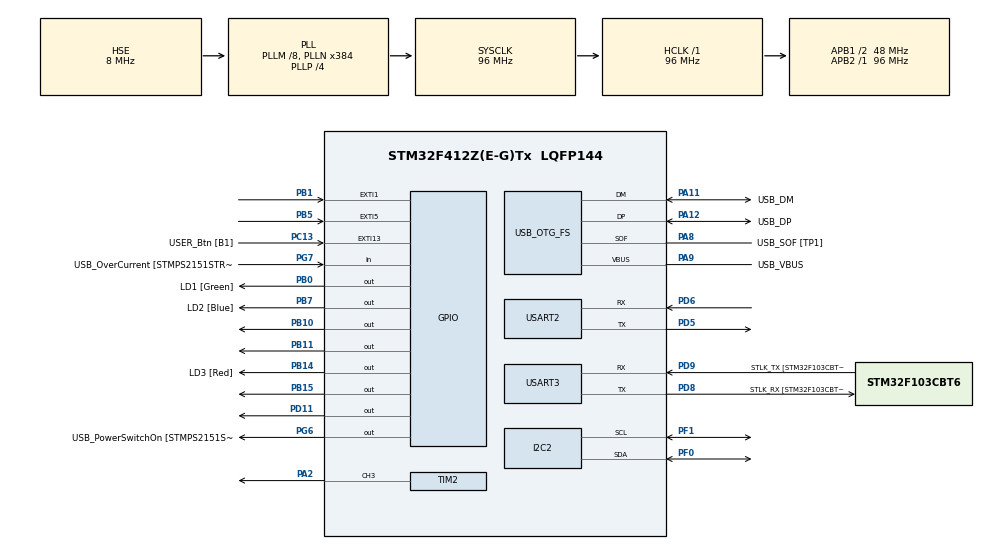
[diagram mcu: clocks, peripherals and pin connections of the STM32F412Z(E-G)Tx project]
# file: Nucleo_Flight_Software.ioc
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Mcu.Family=STM32F4
Mcu.Name=STM32F412Z(E-G)Tx
Mcu.Package=LQFP144
NVIC.EXTI9_5_IRQn=true\:0\:0\:false\:false\:true\:true\:true\:true
NVIC.PriorityGroup=NVIC_PRIORITYGROUP_4
PA10.GPIO_Label=USB_ID
PA10.Signal=USB_OTG_FS_ID
PA11.GPIO_Label=USB_DM
PA11.Mode=Device_Only
PA11.Signal=USB_OTG_FS_DM
PA12.GPIO_Label=USB_DP
PA12.Mode=Device_Only
PA12.Signal=USB_OTG_FS_DP
PA13.GPIO_Label=TMS
PA13.Mode=Serial_Wire
PA13.Signal=SYS_JTMS-SWDIO
PA14.GPIO_Label=TCK
PA14.Mode=Serial_Wire
PA14.Signal=SYS_JTCK-SWCLK
PA2.Signal=S_TIM2_CH3
PA8.GPIO_Label=USB_SOF [TP1]
PA8.Mode=Activate_SOF_FS
PA8.Signal=USB_OTG_FS_SOF
PA9.GPIO_Label=USB_VBUS
PA9.Mode=Activate_VBUS
PA9.Signal=USB_OTG_FS_VBUS
PB0.GPIO_Label=LD1 [Green]
PB0.Signal=GPIO_Output
PB1.Signal=GPXTI1
PB10.Signal=GPIO_Output
PB11.Signal=GPIO_Output
PB14.GPIO_Label=LD3 [Red]
PB14.Signal=GPIO_Output
PB15.Signal=GPIO_Output
PB3.GPIO_Label=SWO
PB3.Signal=SYS_JTDO-SWO
PB5.Signal=GPXTI5
PB7.GPIO_Label=LD2 [Blue]
PB7.Signal=GPIO_Output
PC13.GPIO_Label=USER_Btn [B1]
PC13.Signal=GPXTI13
PC14-OSC32_IN.Mode=LSE-External-Oscillator
PC14-OSC32_IN.Signal=RCC_OSC32_IN
PC15-OSC32_OUT.Mode=LSE-External-Oscillator
PC15-OSC32_OUT.Signal=RCC_OSC32_OUT
PD11.Signal=GPIO_Output
PD5.Mode=Asynchronous
PD5.Signal=USART2_TX
PD6.Mode=Asynchronous
PD6.Signal=USART2_RX
PD8.GPIO_Label=STLK_RX [STM32F103CBT6_PA3]
PD8.Mode=Asynchronous
PD8.Signal=USART3_TX
PD9.GPIO_Label=STLK_TX [STM32F103CBT6_PA2]
PD9.Mode=Asynchronous
PD9.Signal=USART3_RX
PF0.Mode=I2C
PF0.Signal=I2C2_SDA
PF1.Mode=I2C
PF1.Signal=I2C2_SCL
PG6.GPIO_Label=USB_PowerSwitchOn [STMPS2151STR_EN]
PG6.Signal=GPIO_Output
PG7.GPIO_Label=USB_OverCurrent [STMPS2151STR_FAULT]
PG7.Signal=GPIO_Input
PH0\ -\ OSC_IN.GPIO_Label=MCO
PH0\ -\ OSC_IN.Mode=HSE-External-Clock-Source
PH0\ -\ OSC_IN.Signal=RCC_OSC_IN
PH1\ -\ OSC_OUT.Mode=HSE-External-Clock-Source
PH1\ -\ OSC_OUT.Signal=RCC_OSC_OUT
ProjectManager.HeapSize=0x200
ProjectManager.StackSize=0x400
ProjectManager.TargetToolchain=STM32CubeIDE
RCC.48MHZClocksFreq_Value=24000000
RCC.AHBFreq_Value=96000000
RCC.APB1CLKDivider=RCC_HCLK_DIV2
RCC.APB1Freq_Value=48000000
RCC.APB1TimFreq_Value=96000000
RCC.APB2Freq_Value=96000000
RCC.APB2TimFreq_Value=96000000
RCC.CortexFreq_Value=96000000
RCC.HCLKFreq_Value=96000000
RCC.HSE_VALUE=8000000
RCC.HSI_VALUE=16000000
RCC.PLLM=8
RCC.PLLMUL=RCC_PLL_MUL9
RCC.PLLN=384
RCC.PLLP=RCC_PLLP_DIV4
RCC.PLLQ=8
RCC.PRESCALERUSB=RCC_USBCLKSOURCE_PLL_DIV1_5
RCC.SYSCLKFreq_VALUE=96000000
RCC.SYSCLKSource=RCC_SYSCLKSOURCE_PLLCLK
RCC.SYSCLKSourceVirtual=RCC_SYSCLKSOURCE_PLLCLK
RCC.USBFreq_Value=48000000
RCC.VCOOutputFreq_Value=384000000
SH.S_TIM2_CH3.0=TIM2_CH3,PWM Generation3 CH3
TIM2.Channel-PWM\ Generation3\ CH3=TIM_CHANNEL_3
TIM2.Period=20000-1
TIM2.Prescaler=83
TIM2.Pulse-PWM\ Generation3\ CH3=1500
USART2.VirtualMode=VM_ASYNC
USART3.VirtualMode=VM_ASYNC
USB_OTG_FS.VirtualMode=Device_Only
VP_TIM2_VS_ClockSourceINT.Mode=Internal
board=NUCLEO-F412ZG

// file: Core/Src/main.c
/* USER CODE BEGIN Header */
/**
  ******************************************************************************
  * @file           : main.c
  * @brief          : Main program body
  ******************************************************************************
  * @attention
  *
  * Copyright (c) 2024 STMicroelectronics.
  * All rights reserved.
  *
  * This software is licensed under terms that can be found in the LICENSE file
  * in the root directory of this software component.
  * If no LICENSE file comes with this software, it is provided AS-IS.
  *
  ******************************************************************************
  */
/* USER CODE END Header */
#include "main.h"

/* USER CODE BEGIN Includes */

#include "stm32f4xx_hal.h"
#include <string.h>
#include <stdio.h>
#include <math.h>
#include <stdlib.h>
#include <stdint.h>

/* USER CODE END Includes */

/* USER CODE BEGIN PD */

typedef uint8_t bool;
#define false 0
#define true 1

// MMC5603 (Magnometer)
#define MMC5603_ADDRESS (0x30 << 1)  // MMC5603 I2C address
#define MMC5603_REG_CONTROL    0x1A          // Control Register 1
#define MMC5603_REG_CONTROL_2  0x1C          // Control Register 2
#define MMC5603_CONTINUOUS_MODE 0x80         // Enable continuous measurement mode
#define MMC5603_ODR_SETTING     0x08         // Set Output Data Rate (ODR) to a reasonable default

// MPL3115A2 (Temp/ Pressure)
#define MPL3115A2_ADDRESS  (0x60 << 1)  // 7-bit address, shifted left for HAL
#define MPL3115A2_WHO_AM_I 0x0C
#define MPL3115A2_CTRL_REG1 0x26
#define MPL3115A2_OUT_P_MSB 0x01

// MPU6050 (Accel/ Tilt)
#define MPU6050_ADDRESS (0x68 << 1)

// PA1010D (GPS)
#define PA1010D_ADDRESS (0x10 << 1)
#define PA_BFR_SIZE 255

//INA219 (Voltage)
#define INA219_ADDRESS (0x40 << 1)

// LM393 (Auto Gyro Speed)
#define PULSES_PER_ROTATION 40
#define AUTO_GYRO_TIME_INTERVAL_MS 1000

// Flash Memory
#define SECTOR 11
#define FLASH_ALTITUDE_OFFSET_ADDRESS 0x080E0000
#define FLASH_MAG_X_OFFSET_ADDRESS 0x080E0004
#define FLASH_MAG_Y_OFFSET_ADDRESS 0x080E0008
#define FLASH_MAG_Z_OFFSET_ADDRESS 0x080E000C
#define FLASH_TIME_DIF_ADDRESS 0x080E0010

// Stepper Motor
#define IN1_PIN GPIO_PIN_11
#define IN1_PORT GPIOB
#define IN2_PIN GPIO_PIN_10
#define IN2_PORT GPIOB
#define IN3_PIN GPIO_PIN_11
#define IN3_PORT GPIOD
#define IN4_PIN GPIO_PIN_15
#define IN4_PORT GPIOB
#define STEPS_PER_REV 4096

// Servo
#define SERVO_MIN_PULSE_WIDTH 600   // 0° (0.5 ms)
#define SERVO_MAX_PULSE_WIDTH 2400  // 180° (2.5 ms)
#define SERVO_FREQUENCY 50

#define PI 3.141592

#define RX_BFR_SIZE 255
#define TX_BFR_SIZE 255
#define TEAM_ID "3141"

#define I2C_SCL_PIN GPIO_PIN_0
#define I2C_SDA_PIN GPIO_PIN_1
#define I2C_PORT GPIOF

/* USER CODE END PD */

/* USER CODE BEGIN PM */

// XBee
uint8_t rx_packet[RX_BFR_SIZE];
uint8_t tx_data[TX_BFR_SIZE-18];
uint8_t tx_packet[TX_BFR_SIZE];
uint8_t tx_count;
volatile bool command_ready = false;
char command_buffer[RX_BFR_SIZE-1];

/* USER CODE END PM */

I2C_HandleTypeDef hi2c2;

TIM_HandleTypeDef htim2;

UART_HandleTypeDef huart2;
UART_HandleTypeDef huart3;

PCD_HandleTypeDef hpcd_USB_OTG_FS;

void SystemClock_Config(void);
static void MX_GPIO_Init(void);
static void MX_USART3_UART_Init(void);
static void MX_USB_OTG_FS_PCD_Init(void);
static void MX_USART2_UART_Init(void);
static void MX_I2C2_Init(void);
static void MX_TIM2_Init(void);

/* USER CODE BEGIN 0 */

/* Variables TEAM_ID, MISSION_TIME, PACKET_COUNT, MODE, STATE, ALTITUDE,
TEMPERATURE, PRESSURE, VOLTAGE, GYRO_R, GYRO_P, GYRO_Y, ACCEL_R,
ACCEL_P, ACCEL_Y, MAG_R, MAG_P, MAG_Y, AUTO_GYRO_ROTATION_RATE,
GPS_TIME, GPS_ALTITUDE, GPS_LATITUDE, GPS_LONGITUDE, GPS_SATS,
CMD_ECHO [,,OPTIONAL_DATA] */

// Variables
int8_t mission_time_hr;
int8_t mission_time_min;
int8_t mission_time_sec;
int16_t packet_count = 0;
char mode = 'F';
char state[14] = "LAUNCH_PAD";
float altitude;
float temperature;
float pressure;
float voltage; // Not implemented yet
float gyro_x;
float gyro_y;
float gyro_z;
float accel_x;
float accel_y;
float accel_z;
float mag_x, mag_y, mag_z;
float auto_gyro_rotation_rate; // Not implemented yet
uint8_t gps_time_hr;
uint8_t gps_time_min;
uint8_t gps_time_sec;
float gps_altitude;
float gps_latitude;
float gps_longitude;
uint8_t gps_sats;
char cmd_echo[64] = "N/A";

// PA1010D DATA
uint8_t PA1010D_RATE[] = "$PMTK220,1000*1F\r\n";
//uint8_t PA1010D_SAT[] = "$PMTK313,1*2E\r\n";
uint8_t PA1010D_SAT[] = "$PMTK353,1,0,0,0,0*2A\r\n";
uint8_t PA1010D_INIT[] = "$PMTK225,0*2B\r\n";
uint8_t PA1010D_CFG[] = "$PMTK353,1,0,0,0,0*2A\r\n";
uint8_t PA1010D_MODE[] = "$PMTK314,0,0,0,1,0,0,0,0,0,0,0,0,0,0,0,0,0,0,0*29\r\n";
uint8_t PA1010D_SEPERATOR = '$';
HAL_StatusTypeDef pa_ret;
uint8_t pa_buf[PA_BFR_SIZE];
HAL_StatusTypeDef pa_init_ret[5];
uint8_t prev_time = 0;
uint8_t i2cret[128];
char parse_buf[255];
char gps_lat_dir;
char gps_long_dir;
uint32_t time_dif;

// INA219 DATA (VOLTAGE/CURRENT)
HAL_StatusTypeDef ina_ret;
uint8_t ina_buf[8];
int16_t raw_shunt_voltage;
int16_t raw_bus_voltage;
int16_t raw_power;
int16_t raw_current;
float shunt_voltage;
float bus_voltage;
float power;
float current;

// LM393 (Auto Gyro Rotation Rate)
volatile uint32_t pulse_count = 0;

// Stepper Variables
//float direction_correction = 0;
//int steps_needed = 0;
double direction = 0;
//double direction_offset = 0;
//float north_direction_offset = 0;
//float tolerate_direction = 0;
double stepper_direction = 0;
int stepIndex = 1;
bool setting_cam_north = false;

// Commands
char sim_command[14];
char simp_command[15];
char set_time_command[13];
char cal_alt_command[14];
char set_camera_north_on_command[17];
char set_camera_north_off_command[18];
char bcn_on_command[16];
char bcn_off_command[17];
char tel_on_command[15];
char tel_off_command[16];
char cal_comp_on_command[15];
char cal_comp_off_command[16];
char release_payload_command[25];

// State Variables
float prev_alt = 0;

// Other Variables
//float mag_x_offset = 0.173406959;
//float mag_y_offset = 0.0170800537;
//float mag_z_offset = -0.435796857;
float mag_x_offset;
float mag_y_offset;
float mag_z_offset;
float mag_x_min = 0;
float mag_y_min = 0;
float mag_z_min = 0;
float mag_x_max = 0;
float mag_y_max = -1;
float mag_z_max = -1;
float altitude_offset = 0;
int telemetry_status = 1;
bool sim_enabled = false;
char rx_data[255];
HAL_StatusTypeDef uart_received;
bool calibrating_compass = 0;

volatile uint32_t msCounter = 0;

uint8_t steps[8][4] = {
    {1, 0, 0, 0},
    {1, 1, 0, 0},
    {0, 1, 0, 0},
    {0, 1, 1, 0},
    {0, 0, 1, 0},
    {0, 0, 1, 1},
    {0, 0, 0, 1},
    {1, 0, 0, 1}
};

HAL_StatusTypeDef result;

//Set up Interrupt handler to invoke data transmit from xbee to the board.
void USART2_IRQHandler(void) {
    HAL_UART_IRQHandler(&huart2);
}

// Auto Gyro Rotation Sensor ------------------------------------------------------------

// Speed calculation function
void calculate_auto_gyro_speed(void)
{
    auto_gyro_rotation_rate = (pulse_count * 360) / PULSES_PER_ROTATION;
    pulse_count = 0;
}

// Stepper Motor Functions ---------------------------------------------------------------------------
void Stepper_SetStep(uint8_t i) {
    HAL_GPIO_WritePin(IN1_PORT, IN1_PIN, steps[i][0] ? GPIO_PIN_SET : GPIO_PIN_RESET);
    HAL_GPIO_WritePin(IN2_PORT, IN2_PIN, steps[i][1] ? GPIO_PIN_SET : GPIO_PIN_RESET);
    HAL_GPIO_WritePin(IN3_PORT, IN3_PIN, steps[i][2] ? GPIO_PIN_SET : GPIO_PIN_RESET);
    HAL_GPIO_WritePin(IN4_PORT, IN4_PIN, steps[i][3] ? GPIO_PIN_SET : GPIO_PIN_RESET);
}

// Rotate the motor a specified number of steps
void Stepper_Rotate(int stepsCount, int delayMs) {
    int direction = (stepsCount > 0) ? 1 : -1;
    stepsCount = abs(stepsCount);

    for (int i = 0; i < stepsCount; i++) {
        Stepper_SetStep(stepIndex);
        HAL_Delay(delayMs);

        stepIndex += direction;
        if (stepIndex >= 8) stepIndex = 0;
        else if (stepIndex < 0) stepIndex = 7;
    }
}

// Rotate the motor to correct its direction to all way to the North
void Stepper_Correction(){
	read_MMC5603();
	float dir_change = stepper_direction - direction;
	if (dir_change > 180) dir_change -= 360;
	else if (dir_change < -180) dir_change += 360;

	int num_steps = round(dir_change * STEPS_PER_REV / 360);

	stepper_direction -= (double)num_steps * 360 / STEPS_PER_REV;
	if (stepper_direction > 360) stepper_direction -= 360;
	else if (stepper_direction < 0) stepper_direction += 360;

	Stepper_Rotate(num_steps, 0);
}

void set_stepper_north(){
//	direction_offset = direction;
	stepper_direction = direction;
}

// Servo Motor Functions -------------------------------------------------------------------------------
void Set_Servo_Angle(uint8_t angle) {
    // Limit the angle between 0° and 180°
    if (angle > 180) {
        angle = 180;
    }

    // Map the angle to the pulse width
    uint32_t pulse_width = SERVO_MIN_PULSE_WIDTH +
                           ((SERVO_MAX_PULSE_WIDTH - SERVO_MIN_PULSE_WIDTH) * angle) / 180;

    // Calculate the duty cycle for the given pulse width
    uint32_t tim_period = htim2.Init.Period + 1;   // Get the timer period
    uint32_t pulse = (tim_period * pulse_width) / (1000000 / SERVO_FREQUENCY);

    // Set the pulse width to TIM2 Channel 3
    __HAL_TIM_SET_COMPARE(&htim2, TIM_CHANNEL_3, pulse);
}

void Servo_Init() {
    HAL_TIM_PWM_Start(&htim2, TIM_CHANNEL_3);  // Start PWM signal on TIM2 Channel 3
}

// Flash Data Functions ---------------------------------------------------------------------------------
uint32_t time_seconds(uint8_t hr, uint8_t min, uint8_t sec){
	return 3600 * hr + 60 * min + sec;
}

int32_t get_time_dif(){
	return time_seconds(mission_time_hr, mission_time_min, mission_time_sec) - time_seconds(gps_time_hr, gps_time_min, gps_time_sec);
}

void get_mission_time(){
	int32_t mission_time = (time_seconds(gps_time_hr, gps_time_min, gps_time_sec) + time_dif) % 86400;
	if (mission_time < 0) mission_time += 86400;
	mission_time_sec = mission_time % 60;
	mission_time -= mission_time_sec;
	mission_time_min = (mission_time % 3600) / 60;
	mission_time -= mission_time_min;
	mission_time_hr = mission_time / 3600;
}

void store_flash_data(){
	// Store altitude offset, magnetic offsets, mission time
	HAL_FLASH_Unlock();

	FLASH_Erase_Sector(SECTOR, FLASH_VOLTAGE_RANGE_2);
	HAL_Delay(100);

	uint32_t altitude_offset_bits, mag_x_offset_bits, mag_y_offset_bits, mag_z_offset_bits;

	// Copy the float data into the 32-bit unsigned integer variables
	memcpy(&altitude_offset_bits, &altitude_offset, sizeof(altitude_offset));
	memcpy(&mag_x_offset_bits, &mag_x_offset, sizeof(mag_x_offset));
	memcpy(&mag_y_offset_bits, &mag_y_offset, sizeof(mag_y_offset));
	memcpy(&mag_z_offset_bits, &mag_z_offset, sizeof(mag_z_offset));

	HAL_FLASH_Program(FLASH_TYPEPROGRAM_WORD, FLASH_ALTITUDE_OFFSET_ADDRESS, altitude_offset_bits);
	HAL_FLASH_Program(FLASH_TYPEPROGRAM_WORD, FLASH_MAG_X_OFFSET_ADDRESS, mag_x_offset_bits);
	HAL_FLASH_Program(FLASH_TYPEPROGRAM_WORD, FLASH_MAG_Y_OFFSET_ADDRESS, mag_y_offset_bits);
	HAL_FLASH_Program(FLASH_TYPEPROGRAM_WORD, FLASH_MAG_Z_OFFSET_ADDRESS, mag_z_offset_bits);
	HAL_FLASH_Program(FLASH_TYPEPROGRAM_WORD, FLASH_TIME_DIF_ADDRESS, get_time_dif());
	HAL_Delay(100);

	HAL_FLASH_Lock();
}

void load_flash_data(){
	HAL_FLASH_Unlock();

//	altitude_offset = * (__IO uint32_t*) FLASH_ALTITUDE_OFFSET_ADDRESS;
//	mag_x_offset = * (__IO uint32_t*) FLASH_MAG_X_OFFSET_ADDRESS;
//	mag_y_offset = * (__IO uint32_t*) FLASH_MAG_Y_OFFSET_ADDRESS;
//	mag_z_offset = * (__IO uint32_t*) FLASH_MAG_Z_OFFSET_ADDRESS;

//	altitude_offset = * (float*) FLASH_ALTITUDE_OFFSET_ADDRESS;
//	mag_x_offset = *(float*)FLASH_MAG_X_OFFSET_ADDRESS;
//	mag_y_offset = * (float*) FLASH_MAG_Y_OFFSET_ADDRESS;
//	mag_z_offset = * (float*) FLASH_MAG_Z_OFFSET_ADDRESS;
	memcpy(&altitude_offset, (float*)FLASH_ALTITUDE_OFFSET_ADDRESS, sizeof(float));
	memcpy(&mag_x_offset, (float*)FLASH_MAG_X_OFFSET_ADDRESS, sizeof(float));
	memcpy(&mag_y_offset, (float*)FLASH_MAG_Y_OFFSET_ADDRESS, sizeof(float));
	memcpy(&mag_z_offset, (float*)FLASH_MAG_Z_OFFSET_ADDRESS, sizeof(float));
	memcpy(&time_dif, (int32_t*)FLASH_TIME_DIF_ADDRESS, sizeof(int32_t));

	HAL_FLASH_Lock();
}

// Sensor Read Functions -----------------------------------------------------------------------------
uint8_t set_gps(char* buf, uint8_t order){
	char tmp[2];

	if(strlen(buf)==0)
		return 0;

	switch(order) {
	case 0: //STATUS
		if (strlen(buf)<5 || buf[0] != 'G' || buf[2] != 'G' || buf[3] != 'G' || buf[4] != 'A'){
			return 1;
		}
		break;
	case 1: //TIME
		memcpy(tmp, &buf[0], 2);
		gps_time_hr = atoi(tmp);
		memcpy(tmp, &buf[2], 2);
		gps_time_min = atoi(tmp);
		memcpy(tmp, &buf[4], 2);
		gps_time_sec = atoi(tmp);

		break;
	case 2: //LATITUDE
		gps_latitude = atof(buf) / 100;
		break;
	case 3: //LATITUDE_DIR
		gps_lat_dir = *buf;
		if (gps_lat_dir == 'S') {
			gps_latitude*= -1;
		}
		break;
	case 4: //LONGITUDE
		gps_longitude = atof(buf) / 100;
		break;
	case 5: //LONGITUDE DIR
		gps_long_dir = *buf;
		if (gps_long_dir == 'W') {
			gps_longitude*= -1;
		}
		break;
	case 7: //SATS
		gps_sats = atoi(buf);
		break;
	case 9: //ALTITUDE
		gps_altitude = atof(buf);
		break;
	default:
		break;
	}

	return 0;
}

bool parse_nmea(char *buf){
	uint8_t i;
	uint8_t last = 0;
	uint8_t order = 0;

	for(i=0; i<255;i++){
		if ( buf[i] == 44 ){
			if (last != i){
				memset(parse_buf, '\000', sizeof parse_buf);
				memcpy(parse_buf, &buf[last], i-last);
				if(set_gps(parse_buf, order)){
					return false;
				}
			}
			last = i + 1;
			order = order + 1;
		} else if (buf[i] == 42) {
			break;
		}
	}

	return true;
}

float calculate_altitude(float pressure) {
	return 44330.77 * (1 - powf(pressure / 101.326, 0.1902632)) + altitude_offset;
}

void read_MMC5603(void) {
    uint8_t mmc5603_buf[9];
    uint8_t first_reg = 0x00;
	int32_t raw_x, raw_y, raw_z;

	// Perform the I2C write (send the register address) then read 9 bytes of data
	result = HAL_I2C_Master_Transmit(&hi2c2, MMC5603_ADDRESS, &first_reg, 1, HAL_MAX_DELAY);
	if (result != HAL_OK) {
		// Handle transmission error
		return;
	}

//	HAL_Delay(10);

	// Read 9 bytes of data from the sensor
	if (HAL_I2C_Master_Receive(&hi2c2, MMC5603_ADDRESS, mmc5603_buf, 9, HAL_MAX_DELAY) != HAL_OK) {
		// Handle reception error
		return;
	}

	// Extract X, Y, Z values from the buffer
	raw_x = ((uint32_t)mmc5603_buf[0] << 12) | ((uint32_t)mmc5603_buf[1] << 4) | ((uint32_t)mmc5603_buf[6] >> 4);
	raw_y = ((uint32_t)mmc5603_buf[2] << 12) | ((uint32_t)mmc5603_buf[3] << 4) | ((uint32_t)mmc5603_buf[7] >> 4);
	raw_z = ((uint32_t)mmc5603_buf[4] << 12) | ((uint32_t)mmc5603_buf[5] << 4) | ((uint32_t)mmc5603_buf[8] >> 4);

	// Fix center offsets

	raw_x -= (1 << 19);
	raw_y -= (1 << 19);
	raw_z -= (1 << 19);

	// Scale to Gauss
	mag_x = (float)raw_x * 0.0000625 - mag_x_offset;
	mag_y = (float)raw_y * 0.0000625 - mag_y_offset;
	mag_z = (float)raw_z * 0.0000625 - mag_z_offset;

	direction = atan2(mag_y, mag_x) * 180 / PI;
	if (direction < 0){
		direction += 360;
	}
}

void read_MPL3115A2(void)
{
    uint8_t mpl_data[5]; // Buffer to hold pressure and temperature data

    // Read 5 bytes from OUT_P_MSB (3 for pressure, 2 for temperature)
    HAL_I2C_Mem_Read(&hi2c2, MPL3115A2_ADDRESS, MPL3115A2_OUT_P_MSB, I2C_MEMADD_SIZE_8BIT, mpl_data, 9, HAL_MAX_DELAY);

    // Combine pressure bytes into a 20-bit integer
    uint32_t p_raw = ((uint32_t)mpl_data[0] << 16) | ((uint32_t)mpl_data[1] << 8) | (mpl_data[2]);
    p_raw >>= 4; // Pressure is stored in the upper 20 bits

    // Convert raw pressure to Pascals
    pressure = p_raw / 4.0 / 1000; // Pressure in KiloPascals

    // Combine temperature bytes into a 12-bit integer
    int16_t t_raw = ((int16_t)mpl_data[3] << 8) | (mpl_data[4]);
    t_raw >>= 4; // Temperature is stored in the upper 12 bits

    // Convert raw temperature to degrees Celsius
    temperature = t_raw / 16.0; // Temperature in Celsius

    altitude = calculate_altitude(pressure);
}

void read_MPU6050(void) {
	uint8_t imu_addr = 0x3B;
	uint8_t gyro_addr = 0x43;
	HAL_StatusTypeDef mpu_ret;
	uint8_t mpu_buf[6];
	int16_t raw_accel_x;
	int16_t raw_accel_y;
	int16_t raw_accel_z;
	int16_t raw_gyro_x = 0;
	int16_t raw_gyro_y = 0;
	int16_t raw_gyro_z = 0;

	mpu_ret = HAL_I2C_IsDeviceReady(&hi2c2, MPU6050_ADDRESS, 3, 5);
    if (mpu_ret == HAL_OK){
		mpu_ret = HAL_I2C_Master_Transmit(&hi2c2, MPU6050_ADDRESS, &imu_addr, 1, 100);
		if ( mpu_ret == HAL_OK ) {
			mpu_ret = HAL_I2C_Master_Receive(&hi2c2, MPU6050_ADDRESS, mpu_buf, 6, 100);
			if ( mpu_ret == HAL_OK ) {
				// shift first byte left, add second byte
				raw_accel_x = (int16_t)(mpu_buf[0] << 8 | mpu_buf[1]);
				raw_accel_y = (int16_t)(mpu_buf[2] << 8 | mpu_buf[3]);
				raw_accel_z = (int16_t)(mpu_buf[4] << 8 | mpu_buf[5]);

				// get float values in g
				accel_x = raw_accel_x/16384.0;
				accel_y = raw_accel_y/16384.0;
				accel_z = raw_accel_z/16384.0;
			}
		}

		mpu_ret = HAL_I2C_Master_Transmit(&hi2c2, MPU6050_ADDRESS, &gyro_addr, 1, 100);
		if ( mpu_ret == HAL_OK ) {
			mpu_ret = HAL_I2C_Master_Receive(&hi2c2, MPU6050_ADDRESS, mpu_buf, 6, 100);
			if ( mpu_ret == HAL_OK ) {
				// shift first byte left, add second byte
				raw_gyro_x = (int16_t)(mpu_buf[0] << 8 | mpu_buf [1]);
				raw_gyro_y = (int16_t)(mpu_buf[2] << 8 | mpu_buf [3]);
				raw_gyro_z = (int16_t)(mpu_buf[4] << 8 | mpu_buf [5]);

				// convert to deg/sec
				gyro_x = raw_gyro_x/131.0;
				gyro_y = raw_gyro_y/131.0;
				gyro_z = raw_gyro_z/131.0;
			}
		}
    }
}

bool read_PA1010D()
{
	uint8_t pa_buf_index = 0;
	uint8_t pa_bytebuf = 0;
    bool ret = false;

	/* PA1010D (GPS) */
	if (HAL_I2C_IsDeviceReady(&hi2c2, PA1010D_ADDRESS, 3, HAL_MAX_DELAY) == HAL_OK){
		for(pa_buf_index=0; pa_buf_index<255; pa_buf_index++){
			HAL_I2C_Master_Receive(&hi2c2, PA1010D_ADDRESS, &pa_bytebuf, 1, HAL_MAX_DELAY);
			if (pa_bytebuf == '$'){
				ret = true;
				break; // Idea: take away break statement and see what the whole sentence looks like
			}
			pa_buf[pa_buf_index] = pa_bytebuf;
		}
		parse_nmea(pa_buf);
	}
	return ret;
}

void flush_PA1010D(){
	while(read_PA1010D());
}

void read_INA219(void) {
	/* INA219 (CURRENT/VOLTAGE) */
	uint8_t bus_add = 0x02; // need to use separate registers for everything

	ina_ret = HAL_I2C_IsDeviceReady(&hi2c2, INA219_ADDRESS, 3, 5);
	if (ina_ret == HAL_OK) {
		ina_ret = HAL_I2C_Master_Transmit(&hi2c2, INA219_ADDRESS, &bus_add, 1, 100);
		if (ina_ret == HAL_OK) {
			HAL_I2C_Master_Receive(&hi2c2, INA219_ADDRESS, ina_buf, 2, 10);

			//raw_shunt_voltage = abs((int16_t)(ina_buf[0] << 8 | ina_buf[1]));
			raw_bus_voltage = (int16_t)(ina_buf[0] << 8 | ina_buf [1]);
			//raw_power = (int16_t)(ina_buf[4] << 8 | ina_buf [5]);
			//raw_current = (int16_t)(ina_buf[6] << 8 | ina_buf [7]);

			//shunt_voltage = raw_shunt_voltage*10.0;
			bus_voltage = raw_bus_voltage/1600.0;
			//power = raw_power*20/32768.0;
			//current = raw_current/32768.0;

			voltage = bus_voltage;
		}

	}

}

void calibrate_mmc(){
	read_MMC5603();
	if (mag_x < mag_x_min){
		mag_x_min = mag_x;
	}
	if (mag_x > mag_x_max){
		mag_x_max = mag_x;
	}
	if (mag_y < mag_y_min){
		mag_y_min = mag_y;
	}
	if (mag_y > mag_y_max){
		mag_y_max = mag_y;
	}
	if (mag_z < mag_z_min){
		mag_z_min = mag_z;
	}
	if (mag_z > mag_z_max){
		mag_z_max = mag_z;
	}

	mag_x_offset = (mag_x_min + mag_x_max) / 2;
	mag_y_offset = (mag_y_min + mag_y_max) / 2;
	mag_z_offset = (mag_z_min + mag_z_max) / 2;
}

// Sensor Init Functions -------------------------------------------------------------------
void init_MMC5603(void) {
	uint8_t odr_value = 100;  // Example: Set ODR to 1000 Hz by writing 255
	uint8_t control_reg0 = 0b10000000;  // Set Cmm_freq_en and Take_meas_M
	uint8_t control_reg1 = 0b10000000;  // BW0=0, BW1=0 (6.6 ms)
	uint8_t control_reg2 = 0b00010000;  // Set Cmm_en to enable continuous mode

	// Configure Control Register 1
	HAL_I2C_Mem_Write(&hi2c2, MMC5603_ADDRESS, 0x1C, I2C_MEMADD_SIZE_8BIT, &control_reg1, 1, HAL_MAX_DELAY);
	HAL_Delay(20);
	uint8_t set_bit = 0b00001000;
	HAL_I2C_Mem_Write(&hi2c2, MMC5603_ADDRESS, 0x1B, I2C_MEMADD_SIZE_8BIT, &set_bit, 1, HAL_MAX_DELAY);
	HAL_Delay(1);
	uint8_t reset_bit = 0b00010000;
	HAL_I2C_Mem_Write(&hi2c2, MMC5603_ADDRESS, 0x1B, I2C_MEMADD_SIZE_8BIT, &reset_bit, 1, HAL_MAX_DELAY);
	HAL_Delay(1);

	// Set Output Data Rate
	HAL_I2C_Mem_Write(&hi2c2, MMC5603_ADDRESS, 0x1A, I2C_MEMADD_SIZE_8BIT, &odr_value, 1, HAL_MAX_DELAY);
	HAL_Delay(10);

	// Configure Control Register 0
	HAL_I2C_Mem_Write(&hi2c2, MMC5603_ADDRESS, 0x1B, I2C_MEMADD_SIZE_8BIT, &control_reg0, 1, HAL_MAX_DELAY);
	HAL_Delay(10);

	// Configure Control Register 2
	HAL_I2C_Mem_Write(&hi2c2, MMC5603_ADDRESS, 0x1D, I2C_MEMADD_SIZE_8BIT, &control_reg2, 1, HAL_MAX_DELAY);

	// Optionally: Add a delay to allow the sensor to stabilize
	HAL_Delay(10);
}

void init_MPL3115A2(void)
{
	// Check the WHO_AM_I register to verify sensor is connected
	uint8_t who_am_i = 0;
	HAL_I2C_Mem_Read(&hi2c2, MPL3115A2_ADDRESS, MPL3115A2_WHO_AM_I, I2C_MEMADD_SIZE_8BIT, &who_am_i, 1, HAL_MAX_DELAY);
	if (who_am_i == 0xC4)
	{
		// WHO_AM_I is correct, now configure the sensor
//		uint8_t data = 0xB9; // Altimeter mode
		uint8_t data = 0x39; // Barometer mode
		HAL_I2C_Mem_Write(&hi2c2, MPL3115A2_ADDRESS, MPL3115A2_CTRL_REG1, I2C_MEMADD_SIZE_8BIT, &data, 1, HAL_MAX_DELAY);
	}
	else
	{
		// Handle error
	}
}

void init_MPU6050(void)
{
	uint8_t mpu_config = 0x00;
	uint8_t mpu_set_sample_rate = 0x07;
	uint8_t mpu_set_fs_range = 0x00;
	uint8_t clockSource = 0x01;

	// wake up sensor
	HAL_I2C_Mem_Write(&hi2c2, MPU6050_ADDRESS, 0x6B, 1,&mpu_config, 1, 1000);

	// set sample rate to 1kHz, config ranges
	HAL_I2C_Mem_Write(&hi2c2, MPU6050_ADDRESS, 0x19, 1, &mpu_set_sample_rate, 1, 1000);
	HAL_I2C_Mem_Write(&hi2c2, MPU6050_ADDRESS, 0x1B, 1, &mpu_set_fs_range, 1, 1000);
	HAL_I2C_Mem_Write(&hi2c2, MPU6050_ADDRESS, 0x1c, 1, &mpu_set_fs_range, 1, 1000);
	HAL_I2C_Mem_Write(&hi2c2, MPU6050_ADDRESS, 0x6B, I2C_MEMADD_SIZE_8BIT, &clockSource, 1, HAL_MAX_DELAY);
}

void init_PA1010D(void)
{
	uint8_t pa1010d_bytebuf;

	HAL_I2C_Master_Transmit(&hi2c2, PA1010D_ADDRESS, PA1010D_MODE, strlen( (char *)PA1010D_MODE), 1000);
	HAL_I2C_Master_Transmit(&hi2c2, PA1010D_ADDRESS, PA1010D_RATE, strlen( (char *)PA1010D_RATE), 1000);
//	pa_init_ret[1] = HAL_I2C_Master_Transmit(&hi2c2, PA1010D_ADDRESS, PA1010D_INIT, strlen( (char *)PA1010D_INIT), 1000);
//	pa_init_ret[2] = HAL_I2C_Master_Transmit(&hi2c2, PA1010D_ADDRESS, PA1010D_SAT, strlen( (char *)PA1010D_SAT), 1000);
//	pa_init_ret[3] = HAL_I2C_Master_Transmit(&hi2c2, PA1010D_ADDRESS, PA1010D_CFG, strlen( (char *)PA1010D_CFG), 1000);

//	HAL_Delay(10000);
	//Wait for stabilization
	for(int j=0; j<10; j++){
		for(int i=0; i<255; i++){
			HAL_I2C_Master_Receive(&hi2c2, PA1010D_ADDRESS, &pa1010d_bytebuf, 1, HAL_MAX_DELAY);
			if (pa1010d_bytebuf == '$'){
				break;
			}
			pa_buf[i] = pa1010d_bytebuf;
		}
		if (j>5){
			parse_nmea(pa_buf);
		}
		HAL_Delay(500);
	}
}

void init_INA219(void)
{
	uint8_t ina_config[2] = {0b00000001, 0b00011101};
	HAL_I2C_Mem_Write(&hi2c2, (uint16_t) INA219_ADDRESS, 0x05, 1, ina_config, 2, 1000);
}

void read_sensors(void)
{
	read_MPU6050(); // Accel/ tilt
	read_MPL3115A2(); // Temperature/ Pressure
	if (setting_cam_north) read_MMC5603(); // Magnetic Field
	for (int i = 0; i < 10; ++i){
		read_PA1010D(); // GPS
	}
	calculate_auto_gyro_speed();
//	read_INA219(); // Voltage
}

void reset_MPU6050(void) {
    uint8_t reset_command = 0x80;  // Set the reset bit in PWR_MGMT_1
    HAL_I2C_Mem_Write(&hi2c2, MPU6050_ADDRESS, 0x6B, 1, &reset_command, 1, HAL_MAX_DELAY);
    HAL_Delay(100); // Wait for reset to complete
}

void init_sensors(void)
{
	if (HAL_I2C_GetState(&hi2c2) != HAL_I2C_STATE_READY) {
		reset_MPU6050();
	}

	init_MPU6050(); // Must be first
	init_MPL3115A2();
	init_MMC5603();
	init_PA1010D();
//	init_INA219();

	read_PA1010D();
	get_mission_time();

	flush_PA1010D();
}

void init_commands(void)
{
	snprintf(sim_command, sizeof(sim_command), "CMD,%s,SIM,", TEAM_ID);
	snprintf(simp_command, sizeof(simp_command), "CMD,%s,SIMP,", TEAM_ID);
	snprintf(set_time_command, sizeof(set_time_command), "CMD,%s,ST,", TEAM_ID);
	snprintf(cal_alt_command, sizeof(cal_alt_command), "CMD,%s,CAL", TEAM_ID);
	snprintf(bcn_on_command, sizeof(bcn_on_command), "CMD,%s,BCN,ON", TEAM_ID);
	snprintf(bcn_off_command, sizeof(bcn_off_command), "CMD,%s,BCN,OFF", TEAM_ID);
	snprintf(tel_on_command, sizeof(tel_on_command), "CMD,%s,CX,ON", TEAM_ID);\
	snprintf(tel_off_command, sizeof(tel_off_command), "CMD,%s,CX,OFF", TEAM_ID);
	snprintf(cal_comp_on_command, sizeof(cal_comp_on_command), "CMD,%s,CC,ON", TEAM_ID);
	snprintf(cal_comp_off_command, sizeof(cal_comp_off_command), "CMD,%s,CC,OFF", TEAM_ID);
	snprintf(set_camera_north_on_command, sizeof(set_camera_north_on_command), "CMD,%s,SCN,ON", TEAM_ID);
	snprintf(set_camera_north_off_command, sizeof(set_camera_north_off_command), "CMD,%s,SCN,OFF", TEAM_ID);
	snprintf(release_payload_command, sizeof(release_payload_command), "CMD,%s,MEC,PAYLOAD,ON", TEAM_ID);
}

// Xbee and Command Functions ----------------------------------------------------------------
uint8_t calculate_checksum(const char *data) {
	uint8_t checksum = 0;
	while (*data) {
		checksum += *data++;
	}
	return checksum % 256;
}

void send_packet(){

	char packet[512];  // Buffer for packet
	char data[480];    // Buffer for data without checksum

	packet_count += 1;

	snprintf(data, sizeof(data),
		"%s,%02d:%02d:%02d,%d,%c,%s,%.1f,%.1f,%.1f,%.1f,%.1f,%.1f,%.1f,%.1f,%.1f,%.1f,%.1f,%.1f,%.1f,%.1f,%02d:%02d:%02d,%.1f,%.1f,%.1f,%u,%s",
		 TEAM_ID, mission_time_hr, mission_time_min, mission_time_sec, packet_count,
		 mode, state, altitude, temperature, pressure, voltage,
		 gyro_x, gyro_y, gyro_z, accel_x, accel_y, accel_z, mag_x, mag_y, mag_z,
		 auto_gyro_rotation_rate, gps_time_hr, gps_time_min, gps_time_sec,
		 gps_altitude, gps_latitude, gps_longitude, gps_sats, cmd_echo);

	uint8_t checksum = calculate_checksum(data);
	snprintf(packet, sizeof(packet), "~%s,%u\n", data, checksum);

	// Send the packet using HAL_UART_Transmit
	HAL_UART_Transmit(&huart2, (uint8_t*)packet, strlen(packet), HAL_MAX_DELAY);
}

void handle_state(){
	// States: ‘LAUNCH_PAD’,‘ASCENT’, ‘APOGEE’, ‘DESCENT’, ‘PROBE_RELEASE’, ‘LANDED’
	int8_t current_movement;

	// Determine ascending, descending, or stationary
	if (altitude < (prev_alt + 0.5) && altitude > (prev_alt - 0.5)){
		current_movement = 0;
	}
	else if (altitude < prev_alt) {
		current_movement = -1;
	}
	else {
		current_movement = 1;
	}

	// Probe Release if limit switch
	if (0 == 1){
		memset(state, 0, sizeof(state));
		strncpy(state, "PROBE_RELEASE", strlen("PROBE_RELEASE"));
		// Deploy Auto Gyro
	}

	// Ascent if ascending and probe not released
	else if (current_movement == 1){
		memset(state, 0, sizeof(state));
		strncpy(state, "ASCENDING", strlen("ASCENDING"));
	}

	// Apogee if current state is ascent and now stationary or descending
	else if ((strncmp(state, "ASCENDING", strlen("ASCENDING")) == 0 || strncmp(state, "PROBE_RELEASE", strlen("PROBE_RELEASE")) == 0) && current_movement != 1){
		memset(state, 0, sizeof(state));
		strncpy(state, "APOGEE", strlen("APOGEE"));
	}

	// Descent if not apogee and descending
	else if (current_movement == -1){
		memset(state, 0, sizeof(state));
		strncpy(state, "DESCENDING", strlen("DESCENDING"));
	}

	// Landed if not moving and was previously descending or landed
	else if (current_movement == 0 && (strncmp(state, "DESCENDING", strlen("DESCENDING")) == 0 || strncmp(state, "LANDED", strlen("LANDED")) == 0)){
		memset(state, 0, sizeof(state));
		strncpy(state, "LANDED", strlen("LANDED"));
		// stop telemetry transmission
	}

	else{
		memset(state, 0, sizeof(state));
		strncpy(state, "LAUNCH_PAD", strlen("LAUNCH_PAD"));
	}

	prev_alt = altitude;
}

void read_transmit_telemetry (){
	if (mode == 'F') {
		read_sensors();
	}

	send_packet();
}

void set_cmd_echo(const char *cmd)
{
	memset(cmd_echo, '\0', sizeof(cmd_echo));
	strncpy(cmd_echo, cmd, strlen(cmd));
}

void handle_command(const char *cmd) {

	// SIM command
	if (strncmp(cmd, sim_command, strlen(sim_command)) == 0) {

		// disable
		if (cmd[13] == 'D'){
			set_cmd_echo("SIMDISABLE");
			mode = 'F';
			sim_enabled = false;
		}

		// enable
		if (cmd[13] == 'E'){
			set_cmd_echo("SIMENABLE");
			sim_enabled = true;
		}

		// activate
		if (cmd[13] == 'A' && sim_enabled == true){
			mode = 'S';
			set_cmd_echo("SIMACTIVATE");
		}

	}

	// SIMP command
	else if (strncmp(cmd, simp_command, strlen(simp_command)) == 0) {
		if (mode == 'S') {
			char pressure_str[7];

			strncpy(pressure_str, &cmd[14], 6);
			pressure_str[6] = '\0';

			// Read sensors, then update the pressure and altitude
			read_sensors();
			pressure = atof(pressure_str)/1000;
			altitude = calculate_altitude(pressure);

			char temp[12] = "SIMP";
			strcat(temp, pressure_str);
			set_cmd_echo(temp);
			memset(pressure_str, '\0', sizeof(pressure_str));
		}
		sim_enabled = false;
	}

	// set time command
	else if (strncmp(cmd, set_time_command, strlen(set_time_command)) == 0) {
		if (cmd[12]=='G') {
			mission_time_hr = (int16_t)gps_time_hr;
			mission_time_min = (int16_t)gps_time_min;
			mission_time_sec = (int16_t)gps_time_sec;
			set_cmd_echo("STGPS");
		}
		else {
			char temp[3];
			memset(temp, 0, sizeof(temp));
			temp[0] = cmd[12];
			temp[1] = cmd[13];
			mission_time_hr = atoi(temp);
			memset(temp, 0, sizeof(temp));
			temp[0] = cmd[15];
			temp[1] = cmd[16];
			mission_time_min = atoi(temp);
			memset(temp, 0, sizeof(temp));
			temp[0] = cmd[18];
			temp[1] = cmd[19];
			mission_time_sec = atoi(temp);
			memset(cmd_echo, '\0', sizeof(cmd_echo));
			snprintf(cmd_echo, 11, "ST%02d:%02d:%02d", mission_time_hr, mission_time_min, mission_time_sec);
		}
		store_flash_data();

	}

	// Calibrate Altitude
	else if (strncmp(cmd, cal_alt_command, strlen(cal_alt_command)) == 0) {
		altitude_offset -= altitude;
		store_flash_data();
		set_cmd_echo("CAL");
		if (strncmp(state, "PRE-LAUNCH", strlen("PRE-LAUNCH")) == 0) {
			memset(state, 0, sizeof(state));
			strncpy(state, "LAUNCH-READY", strlen("LAUNCH-READY"));
		}

		sim_enabled = false;
	}

	// Telemetry On
	else if (strncmp(cmd, tel_on_command, strlen(tel_on_command)) == 0) {
		telemetry_status = 1;
		set_cmd_echo("CXON");
		sim_enabled = false;
		flush_PA1010D();
	}

	// Telemetry Off
	else if (strncmp(cmd, tel_off_command, strlen(tel_off_command)) == 0) {
		telemetry_status = 0;
		set_cmd_echo("CXOFF");
		sim_enabled = false;
	}

	// Calibrate compass On
	else if (strncmp(cmd, cal_comp_on_command, strlen(cal_comp_on_command)) == 0) {
		mag_x_min = mag_x;
		mag_x_max = mag_x;
		mag_y_min = mag_y;
		mag_y_max = mag_y;
		mag_z_min = mag_z;
		mag_z_max = mag_z;
		calibrating_compass = 1;
		set_cmd_echo("CCON");
		sim_enabled = false;
	}

	// Calibrate compass Off
	else if (strncmp(cmd, cal_comp_off_command, strlen(cal_comp_off_command)) == 0) {
		calibrating_compass = 0;
		store_flash_data();
		set_cmd_echo("CCOFF");
		sim_enabled = false;
	}

	// Set Camera North On
	else if (strncmp(cmd, set_camera_north_on_command, strlen(set_camera_north_on_command)) == 0) {
		// Update variable
		set_cmd_echo("SCNON");
		setting_cam_north = true;
		sim_enabled = false;
	}

	// Set Camera North Off
	else if (strncmp(cmd, set_camera_north_off_command, strlen(set_camera_north_off_command)) == 0) {
		// Update variable
		set_cmd_echo("SCNOFF");
		setting_cam_north = false;
		set_stepper_north();
		sim_enabled = false;
	}

	// Release Payload
	else if (strncmp(cmd, release_payload_command, strlen(release_payload_command)) == 0) {
		// Update variable
		set_cmd_echo("MECPAYLOAD");
		Set_Servo_Angle(90);
		sim_enabled = false;
	}

}

void HAL_UARTEx_RxEventCallback(UART_HandleTypeDef *huart, uint16_t Size){
	memcpy(rx_packet, rx_data, RX_BFR_SIZE);

	memset(rx_data, 0, sizeof(rx_data));

	if (rx_packet[0] == '~') {
		// Calculate where the comma and checksum should be
		char *comma_pos = &rx_packet[Size - 3];  // Comma is 3 characters from the end (2 for checksum, 1 for comma)

		// Ensure the expected comma is at the right position
		if (*comma_pos == ',') {
			// Null-terminate the data part (exclude comma and checksum)
			*comma_pos = '\0';

			// Extract and convert the received checksum (2 characters after the comma)
			uint8_t received_checksum = (uint8_t)strtol(&rx_packet[Size - 2], NULL, 16);  // Convert checksum to integer
			// Calculate checksum of the data part (after '~' and before comma)
			uint8_t calculated_checksum = calculate_checksum(&rx_packet[1]);
			// Compare calculated checksum with the received one
			if (calculated_checksum == received_checksum && command_ready == false) {
				// Checksum is valid, process the command
				strcpy(command_buffer, &rx_packet[1]);
				command_ready = true;
			}
		}
	}

	// Call function for next packet
	uart_received = HAL_UARTEx_ReceiveToIdle_IT(&huart2, rx_data, RX_BFR_SIZE);

}

/* USER CODE END 0 */

int main(void)
{

  /* MCU Configuration--------------------------------------------------------*/

  /* Reset of all peripherals, Initializes the Flash interface and the Systick. */
  HAL_Init();

  /* Configure the system clock */
  SystemClock_Config();

  /* Initialize all configured peripherals */
  MX_GPIO_Init();
  MX_USART3_UART_Init();
  MX_USB_OTG_FS_PCD_Init();
  MX_USART2_UART_Init();
  MX_I2C2_Init();
  MX_TIM2_Init();
  /* USER CODE BEGIN 2 */

//  store_flash_data();
  load_flash_data();

  result = HAL_I2C_IsDeviceReady(&hi2c2, MPU6050_ADDRESS, 3, 5);

  init_sensors();
  init_commands();
  Servo_Init();

  uart_received = HAL_UARTEx_ReceiveToIdle_IT(&huart2, rx_data, RX_BFR_SIZE);

  Set_Servo_Angle(0);

  // Set North Direction Offset
  read_MMC5603();
  set_stepper_north();

  HAL_Delay(1000);
  /* USER CODE END 2 */

  /* Infinite loop */
  /* USER CODE BEGIN WHILE */
  while (1)
  {
	  // Correction of Camera Angle
	  if (!setting_cam_north){
		  Stepper_Correction();
	  }

	  // Happens 1 time per second
	  if (msCounter >= 1000){
		  msCounter -= 1000;

		  if (command_ready){
			  handle_command(command_buffer);
			  command_ready = false;
		  }

		  if (calibrating_compass == 1){
			  calibrate_mmc();
		  }

		  if (HAL_I2C_GetState(&hi2c2) != HAL_I2C_STATE_READY) {
			  init_sensors();
		  }

		  // Handle Mission Time
		  mission_time_sec++;
		  if ( mission_time_sec >= 60 ){
			  mission_time_sec -= 60;
			  mission_time_min += 1;
		  }
		  if ( mission_time_min >= 60 ){
			  mission_time_min -= 60;
			  mission_time_hr += 1;
		  }
		  if ( mission_time_hr >= 24 ){
			  mission_time_hr -= 24;
		  }

		  handle_state();

		  // Control Telemetry
		  if (telemetry_status == 1){
			  read_transmit_telemetry();
		  }
	  }

	  HAL_Delay(50);

//	  for (int i = 0; i < 8; i++) {
//	      Stepper_SetStep(i);   // Set step
//	      HAL_Delay(1000);       // Increase delay to make movement visible
//	  }

    /* USER CODE END WHILE */

  }
}

void SystemClock_Config(void)
{
  RCC_OscInitTypeDef RCC_OscInitStruct = {0};
  RCC_ClkInitTypeDef RCC_ClkInitStruct = {0};

  /** Configure the main internal regulator output voltage
  */
  __HAL_RCC_PWR_CLK_ENABLE();
  __HAL_PWR_VOLTAGESCALING_CONFIG(PWR_REGULATOR_VOLTAGE_SCALE1);

  /** Initializes the RCC Oscillators according to the specified parameters
  * in the RCC_OscInitTypeDef structure.
  */
  RCC_OscInitStruct.OscillatorType = RCC_OSCILLATORTYPE_HSE;
  RCC_OscInitStruct.HSEState = RCC_HSE_BYPASS;
  RCC_OscInitStruct.PLL.PLLState = RCC_PLL_ON;
  RCC_OscInitStruct.PLL.PLLSource = RCC_PLLSOURCE_HSE;
  RCC_OscInitStruct.PLL.PLLM = 8;
  RCC_OscInitStruct.PLL.PLLN = 384;
  RCC_OscInitStruct.PLL.PLLP = RCC_PLLP_DIV4;
  RCC_OscInitStruct.PLL.PLLQ = 8;
  RCC_OscInitStruct.PLL.PLLR = 2;
  if (HAL_RCC_OscConfig(&RCC_OscInitStruct) != HAL_OK)
  {
    Error_Handler();
  }

  /** Initializes the CPU, AHB and APB buses clocks
  */
  RCC_ClkInitStruct.ClockType = RCC_CLOCKTYPE_HCLK|RCC_CLOCKTYPE_SYSCLK
                              |RCC_CLOCKTYPE_PCLK1|RCC_CLOCKTYPE_PCLK2;
  RCC_ClkInitStruct.SYSCLKSource = RCC_SYSCLKSOURCE_PLLCLK;
  RCC_ClkInitStruct.AHBCLKDivider = RCC_SYSCLK_DIV1;
  RCC_ClkInitStruct.APB1CLKDivider = RCC_HCLK_DIV2;
  RCC_ClkInitStruct.APB2CLKDivider = RCC_HCLK_DIV1;

  if (HAL_RCC_ClockConfig(&RCC_ClkInitStruct, FLASH_LATENCY_3) != HAL_OK)
  {
    Error_Handler();
  }
}

static void MX_I2C2_Init(void)
{

  hi2c2.Instance = I2C2;
  hi2c2.Init.ClockSpeed = 100000;
  hi2c2.Init.DutyCycle = I2C_DUTYCYCLE_2;
  hi2c2.Init.OwnAddress1 = 0;
  hi2c2.Init.AddressingMode = I2C_ADDRESSINGMODE_7BIT;
  hi2c2.Init.DualAddressMode = I2C_DUALADDRESS_DISABLE;
  hi2c2.Init.OwnAddress2 = 0;
  hi2c2.Init.GeneralCallMode = I2C_GENERALCALL_DISABLE;
  hi2c2.Init.NoStretchMode = I2C_NOSTRETCH_DISABLE;
  if (HAL_I2C_Init(&hi2c2) != HAL_OK)
  {
    Error_Handler();
  }

}

static void MX_TIM2_Init(void)
{

  TIM_ClockConfigTypeDef sClockSourceConfig = {0};
  TIM_MasterConfigTypeDef sMasterConfig = {0};
  TIM_OC_InitTypeDef sConfigOC = {0};

  htim2.Instance = TIM2;
  htim2.Init.Prescaler = 83;
  htim2.Init.CounterMode = TIM_COUNTERMODE_UP;
  htim2.Init.Period = 20000-1;
  htim2.Init.ClockDivision = TIM_CLOCKDIVISION_DIV1;
  htim2.Init.AutoReloadPreload = TIM_AUTORELOAD_PRELOAD_DISABLE;
  if (HAL_TIM_Base_Init(&htim2) != HAL_OK)
  {
    Error_Handler();
  }
  sClockSourceConfig.ClockSource = TIM_CLOCKSOURCE_INTERNAL;
  if (HAL_TIM_ConfigClockSource(&htim2, &sClockSourceConfig) != HAL_OK)
  {
    Error_Handler();
  }
  if (HAL_TIM_PWM_Init(&htim2) != HAL_OK)
  {
    Error_Handler();
  }
  sMasterConfig.MasterOutputTrigger = TIM_TRGO_RESET;
  sMasterConfig.MasterSlaveMode = TIM_MASTERSLAVEMODE_DISABLE;
  if (HAL_TIMEx_MasterConfigSynchronization(&htim2, &sMasterConfig) != HAL_OK)
  {
    Error_Handler();
  }
  sConfigOC.OCMode = TIM_OCMODE_PWM1;
  sConfigOC.Pulse = 1500;
  sConfigOC.OCPolarity = TIM_OCPOLARITY_HIGH;
  sConfigOC.OCFastMode = TIM_OCFAST_DISABLE;
  if (HAL_TIM_PWM_ConfigChannel(&htim2, &sConfigOC, TIM_CHANNEL_3) != HAL_OK)
  {
    Error_Handler();
  }
  HAL_TIM_MspPostInit(&htim2);

}

static void MX_USART2_UART_Init(void)
{

  /* USER CODE BEGIN USART2_Init 0 */
	HAL_NVIC_SetPriority(USART2_IRQn, 0, 0);
	HAL_NVIC_EnableIRQ(USART2_IRQn);
  /* USER CODE END USART2_Init 0 */

  huart2.Instance = USART2;
  huart2.Init.BaudRate = 115200;
  huart2.Init.WordLength = UART_WORDLENGTH_8B;
  huart2.Init.StopBits = UART_STOPBITS_1;
  huart2.Init.Parity = UART_PARITY_NONE;
  huart2.Init.Mode = UART_MODE_TX_RX;
  huart2.Init.HwFlowCtl = UART_HWCONTROL_NONE;
  huart2.Init.OverSampling = UART_OVERSAMPLING_16;
  if (HAL_UART_Init(&huart2) != HAL_OK)
  {
    Error_Handler();
  }

}

static void MX_USART3_UART_Init(void)
{

  huart3.Instance = USART3;
  huart3.Init.BaudRate = 115200;
  huart3.Init.WordLength = UART_WORDLENGTH_8B;
  huart3.Init.StopBits = UART_STOPBITS_1;
  huart3.Init.Parity = UART_PARITY_NONE;
  huart3.Init.Mode = UART_MODE_TX_RX;
  huart3.Init.HwFlowCtl = UART_HWCONTROL_NONE;
  huart3.Init.OverSampling = UART_OVERSAMPLING_16;
  if (HAL_UART_Init(&huart3) != HAL_OK)
  {
    Error_Handler();
  }

}

static void MX_USB_OTG_FS_PCD_Init(void)
{

  hpcd_USB_OTG_FS.Instance = USB_OTG_FS;
  hpcd_USB_OTG_FS.Init.dev_endpoints = 6;
  hpcd_USB_OTG_FS.Init.speed = PCD_SPEED_FULL;
  hpcd_USB_OTG_FS.Init.dma_enable = DISABLE;
  hpcd_USB_OTG_FS.Init.phy_itface = PCD_PHY_EMBEDDED;
  hpcd_USB_OTG_FS.Init.Sof_enable = ENABLE;
  hpcd_USB_OTG_FS.Init.low_power_enable = DISABLE;
  hpcd_USB_OTG_FS.Init.lpm_enable = DISABLE;
  hpcd_USB_OTG_FS.Init.battery_charging_enable = ENABLE;
  hpcd_USB_OTG_FS.Init.vbus_sensing_enable = ENABLE;
  hpcd_USB_OTG_FS.Init.use_dedicated_ep1 = DISABLE;
  if (HAL_PCD_Init(&hpcd_USB_OTG_FS) != HAL_OK)
  {
    Error_Handler();
  }

}

static void MX_GPIO_Init(void)
{
  GPIO_InitTypeDef GPIO_InitStruct = {0};

  /* GPIO Ports Clock Enable */
  __HAL_RCC_GPIOC_CLK_ENABLE();
  __HAL_RCC_GPIOF_CLK_ENABLE();
  __HAL_RCC_GPIOH_CLK_ENABLE();
  __HAL_RCC_GPIOA_CLK_ENABLE();
  __HAL_RCC_GPIOB_CLK_ENABLE();
  __HAL_RCC_GPIOD_CLK_ENABLE();
  __HAL_RCC_GPIOG_CLK_ENABLE();

  /*Configure GPIO pin Output Level */
  HAL_GPIO_WritePin(GPIOB, LD1_Pin|GPIO_PIN_10|GPIO_PIN_11|LD3_Pin
                          |GPIO_PIN_15|LD2_Pin, GPIO_PIN_RESET);

  /*Configure GPIO pin Output Level */
  HAL_GPIO_WritePin(GPIOD, GPIO_PIN_11, GPIO_PIN_RESET);

  /*Configure GPIO pin Output Level */
  HAL_GPIO_WritePin(USB_PowerSwitchOn_GPIO_Port, USB_PowerSwitchOn_Pin, GPIO_PIN_RESET);

  /*Configure GPIO pin : USER_Btn_Pin */
  GPIO_InitStruct.Pin = USER_Btn_Pin;
  GPIO_InitStruct.Mode = GPIO_MODE_IT_RISING;
  GPIO_InitStruct.Pull = GPIO_NOPULL;
  HAL_GPIO_Init(USER_Btn_GPIO_Port, &GPIO_InitStruct);

  /*Configure GPIO pins : LD1_Pin PB10 PB11 LD3_Pin
                           PB15 LD2_Pin */
  GPIO_InitStruct.Pin = LD1_Pin|GPIO_PIN_10|GPIO_PIN_11|LD3_Pin
                          |GPIO_PIN_15|LD2_Pin;
  GPIO_InitStruct.Mode = GPIO_MODE_OUTPUT_PP;
  GPIO_InitStruct.Pull = GPIO_NOPULL;
  GPIO_InitStruct.Speed = GPIO_SPEED_FREQ_LOW;
  HAL_GPIO_Init(GPIOB, &GPIO_InitStruct);

  /*Configure GPIO pins : PB1 PB5 */
  GPIO_InitStruct.Pin = GPIO_PIN_1|GPIO_PIN_5;
  GPIO_InitStruct.Mode = GPIO_MODE_IT_RISING;
  GPIO_InitStruct.Pull = GPIO_NOPULL;
  HAL_GPIO_Init(GPIOB, &GPIO_InitStruct);

  /*Configure GPIO pin : PD11 */
  GPIO_InitStruct.Pin = GPIO_PIN_11;
  GPIO_InitStruct.Mode = GPIO_MODE_OUTPUT_PP;
  GPIO_InitStruct.Pull = GPIO_NOPULL;
  GPIO_InitStruct.Speed = GPIO_SPEED_FREQ_LOW;
  HAL_GPIO_Init(GPIOD, &GPIO_InitStruct);

  /*Configure GPIO pin : USB_PowerSwitchOn_Pin */
  GPIO_InitStruct.Pin = USB_PowerSwitchOn_Pin;
  GPIO_InitStruct.Mode = GPIO_MODE_OUTPUT_PP;
  GPIO_InitStruct.Pull = GPIO_NOPULL;
  GPIO_InitStruct.Speed = GPIO_SPEED_FREQ_LOW;
  HAL_GPIO_Init(USB_PowerSwitchOn_GPIO_Port, &GPIO_InitStruct);

  /*Configure GPIO pin : USB_OverCurrent_Pin */
  GPIO_InitStruct.Pin = USB_OverCurrent_Pin;
  GPIO_InitStruct.Mode = GPIO_MODE_INPUT;
  GPIO_InitStruct.Pull = GPIO_NOPULL;
  HAL_GPIO_Init(USB_OverCurrent_GPIO_Port, &GPIO_InitStruct);

  /* EXTI interrupt init*/
  HAL_NVIC_SetPriority(EXTI9_5_IRQn, 0, 0);
  HAL_NVIC_EnableIRQ(EXTI9_5_IRQn);

}

void Error_Handler(void)
{
  __disable_irq();
  while (1)
  {
  }
}
